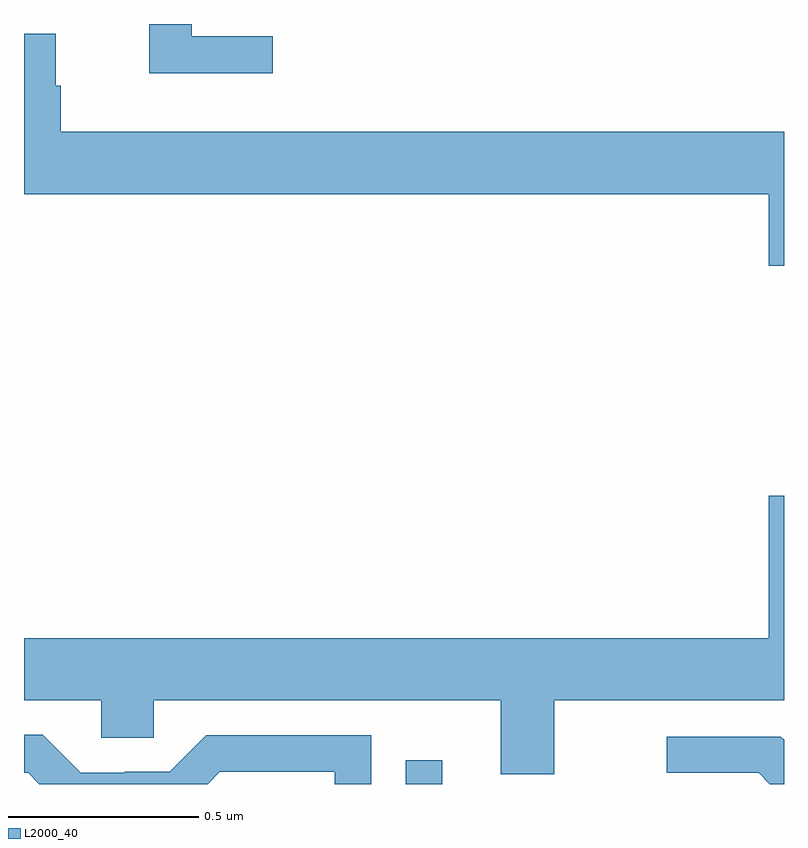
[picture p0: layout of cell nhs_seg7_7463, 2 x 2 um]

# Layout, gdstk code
import gdstk
lib = gdstk.Library(unit=1e-6, precision=1e-09)
def R(c, l, rs):  # rectangles x0, y0, x1, y1
    for r in rs: c.add(gdstk.rectangle(r[:2], r[2:], *l))
def P(c, l, *ps):  # polygons
    for p in ps: c.add(gdstk.Polygon(p, *l))
L2000_40 = (2000, 40)

nhs_seg7_7463 = lib.new_cell('nhs_seg7_7463')
R(nhs_seg7_7463, L2000_40, [(212.005,1063,212.101,1063.063)])
P(nhs_seg7_7463, L2000_40, [(211.654,1064.968),(211.441,1064.968),(211.441,1065),(211.329,1065),(211.329,1064.87),(211.654,1064.87)],
  [(213,1064.716),(211.097,1064.716),(211.097,1064.837),(211.084,1064.837),(211.084,1064.974),(211,1064.974),(211,1064.552),(212.96,1064.552),(212.96,1064.364),(213,1064.364)],
  [(212.395,1063.22),(213,1063.22),(213,1063.759),(212.96,1063.759),(212.96,1063.384),(211,1063.384),(211,1063.22),(211.203,1063.22),(211.203,1063.122),(211.341,1063.122),(211.341,1063.22),(212.255,1063.22),(212.255,1063.026),(212.395,1063.026)],
  [(211.515,1063.032),(211.818,1063.032),(211.818,1063),(211.914,1063),(211.914,1063.128),(211.479,1063.128),(211.383,1063.032),(211.265,1063.032),(211.265,1063.029),(211.149,1063.029),(211.049,1063.129),(211,1063.129),(211,1063.029),(211.011,1063.029),(211.04,1063),(211.483,1063)],
  [(213,1063.116),(212.991,1063.125),(212.691,1063.125),(212.691,1063.029),(212.934,1063.029),(212.963,1063),(213,1063)])

lib.write_gds('nhs_seg7_7463.gds')
